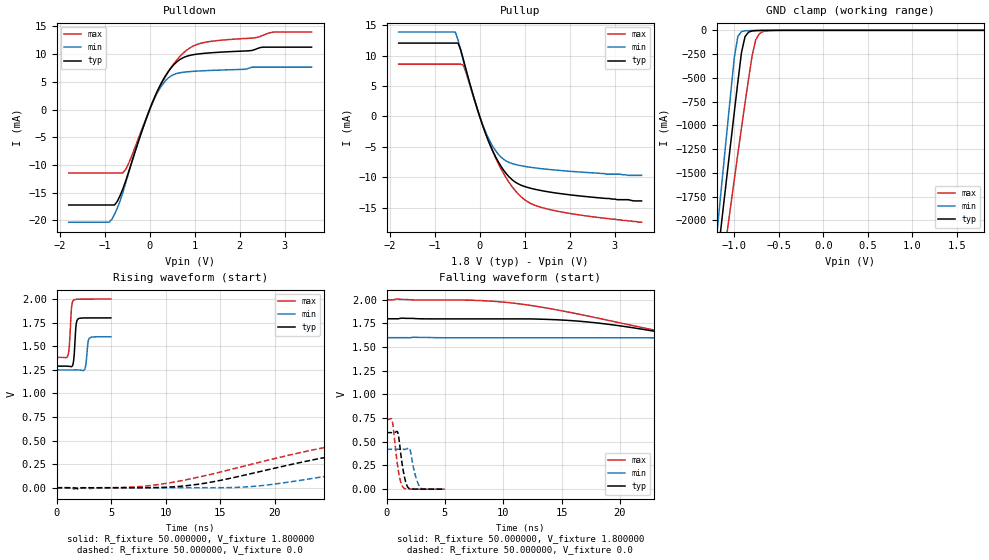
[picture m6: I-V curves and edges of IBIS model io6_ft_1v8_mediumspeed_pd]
| [Disclaimer]  This information is for modeling purpose only and is
| not guaranteed.
| The information is subject to change without notice.
| [Copyright] Copyright 2018 STMicroelectronics Inc.
| From stm32g071_081_lqfp32_pd.ibs, stm32g071_081_lqfp32_pd, STMicroelectronics
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|   Model io6_ft_1v8_mediumspeed_pd
[Model]  io6_ft_1v8_mediumspeed_pd
Model_type I/O
Polarity   Non-Inverting
Enable   Active-Low
Vinl =   0.540000V
Vinh =   1.260000V
Vmeas =  0.900000V
Cref =   50.000000pF
Rref =   100.000000M
Vref =   0.0V
C_comp   1.277600pF   1.236700pF   1.315100pF
[Temperature Range]   25.000000   -40.000000   0.125000k
[Pullup Reference]   1.800000V   1.600000V   2.000000V
[Pulldown Reference]   0.0V   0.0V   0.0V
[POWER Clamp Reference]   1.800000V   1.600000V   2.000000V
[GND Clamp Reference]   0.0V   0.0V   0.0V
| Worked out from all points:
|   slope of the pulldown table from 0 to 0.27 V, typ, clamps not added: 54.7 ohm
|   slope of the pullup table from 0 to 0.27 V, typ, clamps not added: 50.6 ohm
|   GND clamp passes 1 mA (typ) near -0.66 V on its own axis
|   rising waveform, R_fixture 50.000000, V_fixture 1.800000: 20-80 % time 165ps typ, 169ps min, 180ps max; typ from 1.29 V to 1.8 V
|   rising waveform, R_fixture 50.000000, V_fixture 0.0: 20-80 % time 17.5ns typ, 17.5ns min, 19.7ns max; typ from 0 V to 0.597 V
|   falling waveform, R_fixture 50.000000, V_fixture 1.800000: 20-80 % time 17.8ns typ, 19.7ns min, 17.5ns max; typ from 1.8 V to 1.29 V
|   falling waveform, R_fixture 50.000000, V_fixture 0.0: 20-80 % time 437ps typ, 478ps min, 446ps max; typ from 0.597 V to 0 V
[Pulldown]
|Voltage   I(typ)   I(min)   I(max)
-1.8V     -17.22mA   -20.33mA   -11.45mA
-900mV    -17.22mA   -20.33mA   -11.45mA
-720mV    -16.58mA   -17.82mA   -11.45mA
-600mV    -14.41mA   -15.08mA   -11.45mA
-480mV    -11.58mA   -11.79mA   -9.954mA
0V        10fA       0A         0A
240mV     4.49mA     3.999mA    4.291mA
480mV     7.563mA    6.085mA    7.612mA
780mV     9.487mA    6.76mA     10.43mA
1.14V     10.08mA    6.976mA    11.96mA
2.76V     11.26mA    7.652mA    13.98mA
3.6V      11.26mA    7.652mA    13.98mA
[Pullup]
|Voltage   I(typ)   I(min)   I(max)
-1.8V     12.04mA    13.85mA    8.581mA
-540mV    12.04mA    13.85mA    8.581mA
-480mV    12.04mA    12.54mA    8.581mA
-360mV    9.289mA    9.048mA    8.382mA
-120mV    2.896mA    2.754mA    2.776mA
120mV     -2.605mA   -2.366mA   -2.563mA
360mV     -6.731mA   -5.708mA   -6.907mA
600mV     -9.499mA   -7.385mA   -10.25mA
960mV     -11.43mA   -8.172mA   -13.47mA
1.32V     -12.13mA   -8.557mA   -14.86mA
2.16V     -13.03mA   -9.116mA   -16.14mA
3.6V      -13.9mA    -9.7mA     -17.4mA
[GND_clamp]
|Voltage   I(typ)   I(min)   I(max)
-1.8V     -7.471A    -7.973A    -7.298A
-1.2V     -2.489A    -2.18A     -2.954A
-1.16V    -2.16A     -1.797A    -2.674A
-1.08V    -1.505A    -1.034A    -2.118A
-1V       -858mA     -283.1mA   -1.568A
-960mV    -540.4mA   -62.15mA   -1.296A
-920mV    -234.4mA   -13.76mA   -1.028A
-880mV    -66.3mA    -4.868mA   -765.3mA
-800mV    -6.518mA   -2.068mA   -266mA
-760mV    -3.087mA   -1.462mA   -100.4mA
-680mV    -1.228mA   -569.1uA   -14.21mA
1.8V      47.47uA    34.04uA    59.57uA
[POWER_clamp]
|Voltage   I(typ)   I(min)   I(max)
-1.8V     0A         0A         0A
0V        0A         0A         0A
[Ramp]
| variable   typ   min   max
dV/dt_r  0.35804/17.47091n   0.25244/17.50163n   0.44089/19.63862n
dV/dt_f  0.30564/17.73433n   0.20892/19.67200n   0.36984/17.45682n
R_load = 50.000000
[Rising Waveform]
R_fixture= 50.000000
V_fixture= 1.800000
V_fixture_min= 1.600000
V_fixture_max= 2.000000
|time   V(typ)   V(min)   V(max)
0s        1.288V     1.248V     1.381V
1.051ns   1.287V     1.248V     1.403V
1.181ns   1.285V     1.248V     1.513V
1.381ns   1.283V     1.248V     1.912V
1.552ns   1.334V     1.248V     1.986V
1.792ns   1.721V     1.248V     1.996V
1.972ns   1.788V     1.248V     1.997V
2.613ns   1.798V     1.262V     1.998V
3.003ns   1.799V     1.581V     1.998V
4.985ns   1.799V     1.599V     1.998V
[Rising Waveform]
R_fixture= 50.000000
V_fixture= 0.0
V_fixture_min= 0.0
V_fixture_max= 0.0
|time   V(typ)   V(min)   V(max)
0s        -217.4nV   1.586uV    507.6nV
1.602ns   -1.368mV   -4.399uV   -15.18mV
8.809ns   1.015mV    -155.1uV   25.9mV
13.01ns   37.25mV    -110.3uV   111.9mV
17.82ns   148.6mV    11.73mV    246.5mV
28.83ns   402.3mV    196mV      511.3mV
35.44ns   491.4mV    291.3mV    604.9mV
41.24ns   536.9mV    345.6mV    656.1mV
62.26ns   590mV      412.5mV    723.4mV
99.7ns    597mV      421mV      735.1mV
[Falling Waveform]
R_fixture= 50.000000
V_fixture= 1.800000
V_fixture_min= 1.600000
V_fixture_max= 2.000000
|time   V(typ)   V(min)   V(max)
0s        1.799V     1.599V     1.998V
9.009ns   1.798V     1.598V     1.985V
16.42ns   1.774V     1.598V     1.849V
20.62ns   1.713V     1.598V     1.739V
27.83ns   1.562V     1.58V      1.573V
37.84ns   1.403V     1.47V      1.463V
46.45ns   1.345V     1.366V     1.424V
57.46ns   1.313V     1.299V     1.4V
70.47ns   1.297V     1.267V     1.388V
99.7ns    1.288V     1.248V     1.381V
[Falling Waveform]
R_fixture= 50.000000
V_fixture= 0.0
V_fixture_min= 0.0
V_fixture_max= 0.0
|time   V(typ)   V(min)   V(max)
0s        597mV      421mV      735.1mV
490.5ps   596.7mV    421mV      720.6mV
951ps     601.8mV    421.3mV    245.8mV
1.211ns   383.2mV    421.2mV    78.38mV
1.411ns   210.4mV    420.7mV    20.64mV
1.682ns   61.24mV    422.2mV    3.221mV
1.992ns   5.615mV    423.7mV    940.6uV
2.492ns   884.8uV    135.1mV    211.1uV
2.913ns   254uV      13.88mV    59.14uV
4.985ns   -217.4nV   1.586uV    507.6nV
